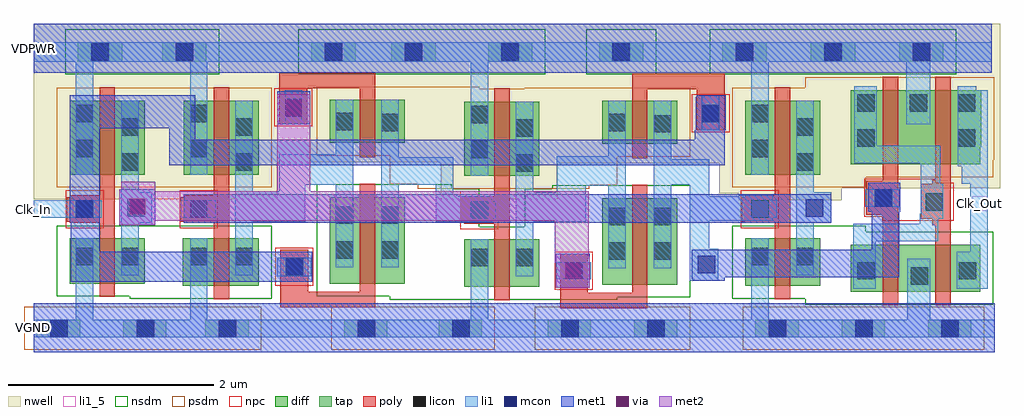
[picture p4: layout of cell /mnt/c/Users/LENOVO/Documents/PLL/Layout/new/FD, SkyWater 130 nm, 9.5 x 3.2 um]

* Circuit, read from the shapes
.subckt /mnt/c/Users/LENOVO/Documents/PLL/Layout/new/FD Clk_In Clk_Out VDPWR VGND
XM1 n1 Clk_In VGND VGND sky130_fd_pr__nfet_01v8 w=0.44 l=0.15
XM2 n2 n3 VGND VGND sky130_fd_pr__nfet_01v8 w=0.46 l=0.15
XM3 n4 Clk_In n2 VGND sky130_fd_pr__nfet_01v8 w=0.84 l=0.15
XM4 n5 n4 VGND VGND sky130_fd_pr__nfet_01v8 w=0.46 l=0.15
XM5 n6 n1 n5 VGND sky130_fd_pr__nfet_01v8 w=0.84 l=0.15
XM6 n3 n6 VGND VGND sky130_fd_pr__nfet_01v8 w=0.46 l=0.15
XM7 VGND n6 n7 VGND sky130_fd_pr__nfet_01v8 w=0.46 l=0.15
XM8 Clk_Out n7 VGND VGND sky130_fd_pr__nfet_01v8 w=0.46 l=0.15
XM9 n1 Clk_In VDPWR VDPWR sky130_fd_pr__pfet_01v8 w=0.72 l=0.15
XM10 n2 n3 VDPWR VDPWR sky130_fd_pr__pfet_01v8 w=0.72 l=0.15
XM11 n4 n1 n2 VDPWR sky130_fd_pr__pfet_01v8 w=0.42 l=0.15
XM12 n5 n4 VDPWR VDPWR sky130_fd_pr__pfet_01v8 w=0.72 l=0.15
XM13 n6 Clk_In n5 VDPWR sky130_fd_pr__pfet_01v8 w=0.42 l=0.15
XM14 n3 n6 VDPWR VDPWR sky130_fd_pr__pfet_01v8 w=0.72 l=0.15
XM15 VDPWR n6 n7 VDPWR sky130_fd_pr__pfet_01v8 w=0.72 l=0.15
XM16 Clk_Out n7 VDPWR VDPWR sky130_fd_pr__pfet_01v8 w=0.72 l=0.15
.ends

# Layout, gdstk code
import gdstk
lib = gdstk.Library(unit=1e-6, precision=1e-09)
def R(c, l, rs):  # rectangles x0, y0, x1, y1
    for r in rs: c.add(gdstk.rectangle(r[:2], r[2:], *l))
def A(c, l, x, y, w, h, nx, ny, dx, dy):  # array of equal rectangles
    R(c, l, [(x+i*dx, y+j*dy, x+i*dx+w, y+j*dy+h) for i in range(nx) for j in range(ny)])
nwell = (64, 20)
diff = (65, 20)
tap = (65, 44)
poly = (66, 20)
licon = (66, 44)
li1_5 = (67, 5)
li1 = (67, 20)
mcon = (67, 44)
met1 = (68, 20)
via = (68, 44)
met2 = (69, 20)
nsdm = (93, 44)
psdm = (94, 20)
npc = (95, 20)

c__mnt_c_users_lenovo_docu = lib.new_cell('/mnt/c/Users/LENOVO/Documents/PLL/Layout/new/FD')
R(c__mnt_c_users_lenovo_docu, nwell, [(6.86,1.48,7.86,1.55), (0,1.49,2.37,1.85), (3.96,1.49,5.1,1.84), (6.67,1.55,7.86,1.6), (6.67,1.6,9.4,1.84), (3.96,1.84,9.4,1.85), (0,1.85,9.4,3.2)])
R(c__mnt_c_users_lenovo_docu, diff, [(7.95,0.59,9.21,1.05), (4.19,0.64,4.92,1.1), (1.45,0.65,2.19,1.11), (6.92,0.65,7.65,1.11), (5.53,0.66,6.26,1.5), (0.35,0.67,1.08,1.11), (2.88,0.67,3.61,1.51), (4.19,1.72,4.92,2.44), (0.35,1.73,1.08,2.45), (1.46,1.73,2.19,2.45), (6.92,1.73,7.65,2.45), (7.95,1.83,9.21,2), (7.95,2,9.22,2.55), (5.53,2.03,6.26,2.45), (2.88,2.04,3.61,2.46)])
A(c__mnt_c_users_lenovo_docu, tap, 7.02, 0.15, 0.42, 0.17, 3, 1, 0.84, 0)
A(c__mnt_c_users_lenovo_docu, tap, 6.7, 2.83, 0.43, 0.19, 3, 1, 0.86, 0)
R(c__mnt_c_users_lenovo_docu, tap, [(0.03,0.15,0.45,0.32), (0.87,0.15,1.29,0.32), (1.67,0.15,2.09,0.32), (3.02,0.15,3.44,0.32), (3.94,0.15,4.36,0.32), (5,0.15,5.42,0.32), (5.84,0.15,6.26,0.32), (0.43,2.83,0.86,3.02), (1.25,2.83,1.68,3.02), (2.7,2.83,3.13,3.02), (3.48,2.83,3.91,3.02), (4.42,2.83,4.85,3.02), (5.5,2.83,5.93,3.02)])
R(c__mnt_c_users_lenovo_docu, poly, [(5.12,0.43,5.97,0.58), (2.4,0.44,3.32,0.59), (8.26,0.46,8.41,1.34), (8.77,0.46,8.92,1.24), (4.48,0.51,4.63,1.25), (1.75,0.52,1.9,1.26), (7.21,0.52,7.36,1.26), (0.64,0.54,0.79,1.26), (5.12,0.58,5.39,0.96), (5.82,0.58,5.97,1.63), (2.4,0.59,2.67,1), (3.17,0.59,3.32,1.64), (8.74,1.24,8.92,1.3), (4.19,1.25,4.63,1.26), (0.35,1.26,0.79,1.27), (1.46,1.26,1.9,1.27), (4.16,1.26,4.63,1.5), (6.92,1.26,7.36,1.27), (0.32,1.27,0.79,1.51), (1.43,1.27,1.9,1.51), (6.89,1.27,7.36,1.51), (8.63,1.3,8.92,1.64), (8.1,1.34,8.41,1.42), (8.1,1.42,8.42,1.59), (4.19,1.5,4.63,1.52), (0.35,1.51,0.79,1.53), (1.46,1.51,1.9,1.53), (6.92,1.51,7.36,1.53), (4.48,1.52,4.63,2.57), (0.64,1.53,0.79,2.58), (1.75,1.53,1.9,2.58), (7.21,1.53,7.36,2.58), (8.1,1.59,8.41,1.67), (8.74,1.64,8.92,1.68), (8.26,1.67,8.41,2.68), (8.77,1.68,8.92,2.68), (5.82,1.89,5.97,2.56), (3.17,1.9,3.32,2.57), (6.45,2.16,6.72,2.56), (2.39,2.22,2.66,2.57), (5.82,2.56,6.72,2.71), (2.39,2.57,3.32,2.72)])
A(c__mnt_c_users_lenovo_docu, licon, 7.15, 0.15, 0.17, 0.17, 3, 1, 0.84, 0)
A(c__mnt_c_users_lenovo_docu, licon, 6.83, 2.84, 0.17, 0.17, 3, 1, 0.86, 0)
R(c__mnt_c_users_lenovo_docu, licon, [(0.16,0.15,0.33,0.32), (1,0.15,1.17,0.32), (1.8,0.15,1.97,0.32), (3.15,0.15,3.32,0.32), (4.07,0.15,4.24,0.32), (5.13,0.15,5.3,0.32), (5.97,0.15,6.14,0.32), (8.53,0.66,8.7,0.83), (5.17,0.71,5.34,0.88), (8.01,0.71,8.18,0.88), (9,0.71,9.17,0.88), (2.45,0.75,2.62,0.92), (4.25,0.84,4.42,1.01), (4.69,0.84,4.86,1.01), (0.41,0.85,0.58,1.02), (0.85,0.85,1.02,1.02), (1.52,0.85,1.69,1.02), (1.96,0.85,2.13,1.02), (6.98,0.85,7.15,1.02), (7.42,0.85,7.59,1.02), (5.59,0.9,5.76,1.07), (6.03,0.9,6.2,1.07), (2.94,0.91,3.11,1.08), (3.38,0.91,3.55,1.08), (5.59,1.24,5.76,1.41), (6.03,1.24,6.2,1.41), (2.94,1.25,3.11,1.42), (3.38,1.25,3.55,1.42), (4.25,1.3,4.42,1.47), (0.41,1.31,0.58,1.48), (1.52,1.31,1.69,1.48), (6.98,1.31,7.15,1.48), (8.68,1.38,8.85,1.55), (8.18,1.42,8.35,1.59), (4.69,1.76,4.86,1.93), (0.85,1.77,1.02,1.94), (1.96,1.77,2.13,1.94), (7.42,1.77,7.59,1.94), (4.25,1.89,4.42,2.06), (0.41,1.9,0.58,2.07), (1.52,1.9,1.69,2.07), (6.98,1.9,7.15,2.07), (8.01,2,8.18,2.17), (8.99,2,9.16,2.17), (4.69,2.1,4.86,2.27), (0.85,2.11,1.02,2.28), (1.96,2.11,2.13,2.28), (7.42,2.11,7.59,2.28), (6.03,2.14,6.2,2.31), (3.38,2.15,3.55,2.32), (5.59,2.15,5.76,2.32), (2.94,2.16,3.11,2.33), (4.25,2.23,4.42,2.4), (0.41,2.24,0.58,2.41), (1.52,2.24,1.69,2.41), (6.5,2.24,6.67,2.41), (6.98,2.24,7.15,2.41), (2.44,2.3,2.61,2.47), (8.01,2.34,8.18,2.51), (8.52,2.34,8.69,2.51), (8.99,2.34,9.16,2.51), (0.56,2.84,0.73,3.01), (1.38,2.84,1.55,3.01), (2.83,2.84,3,3.01), (3.61,2.84,3.78,3.01), (4.55,2.84,4.72,3.01), (5.63,2.84,5.8,3.01)])
R(c__mnt_c_users_lenovo_docu, li1_5, [(9.13,1.38,9.27,1.52)])
R(c__mnt_c_users_lenovo_docu, li1, [(0,0.15,9.35,0.32), (0.41,0.32,0.58,1.11), (1.52,0.32,1.69,1.11), (4.25,0.32,4.42,1.1), (6.98,0.32,7.15,1.11), (8.5,0.32,8.72,0.91), (7.97,0.62,8.19,1.08), (8.98,0.62,9.28,0.98), (6.38,0.7,6.66,1.01), (5.09,0.71,5.42,0.88), (2.37,0.74,2.7,0.92), (4.69,0.74,4.86,1.27), (0.85,0.75,1.02,1.26), (1.96,0.75,2.13,1.27), (7.42,0.75,7.59,1.26), (5.59,0.82,5.76,1.62), (6.03,0.82,6.2,1.63), (2.94,0.83,3.11,1.63), (3.38,0.83,3.55,1.63), (9.11,0.98,9.28,1.64), (6.38,1.01,6.57,1.28), (7.97,1.08,8.8,1.25), (8.62,1.25,8.8,1.3), (0.85,1.26,1.15,1.56), (7.42,1.26,7.76,1.56), (1.96,1.27,2.64,1.57), (3.91,1.27,4.46,1.3), (4.69,1.27,5.37,1.56), (6.38,1.28,7.19,1.31), (3.91,1.3,4.5,1.47), (8.62,1.3,8.85,1.35), (0,1.31,0.66,1.48), (1.43,1.31,1.77,1.48), (6.38,1.31,7.23,1.48), (8.63,1.35,8.85,1.64), (8.09,1.42,8.43,1.59), (3.91,1.47,4.46,1.52), (6.38,1.48,7.19,1.52), (3.91,1.52,4.12,1.54), (6.38,1.52,6.57,1.63), (6.86,1.52,7.19,1.53), (3.91,1.54,4.08,1.63), (0.85,1.56,1.02,2.45), (4.69,1.56,4.86,2.44), (5.09,1.56,5.37,1.62), (7.42,1.56,7.59,2.45), (1.96,1.57,2.13,2.45), (2.39,1.57,2.64,1.63), (5.09,1.62,5.76,1.91), (2.39,1.63,3.11,1.93), (3.38,1.63,4.08,1.9), (6.03,1.63,6.57,1.88), (8.63,1.64,8.82,1.84), (9.03,1.64,9.28,1.81), (4.25,1.72,4.42,2.83), (0.41,1.73,0.58,2.83), (1.52,1.73,1.69,2.83), (6.98,1.73,7.15,2.83), (8.99,1.81,9.28,2.55), (7.98,1.84,8.82,2.01), (6.03,1.88,6.2,2.45), (3.38,1.9,3.55,2.46), (5.59,1.91,5.76,2.45), (2.94,1.93,3.11,2.46), (7.98,2.01,8.2,2.59), (6.5,2.16,6.67,2.5), (2.44,2.22,2.61,2.55), (8.49,2.22,8.72,2.83), (8.99,2.55,9.17,2.59), (0,2.83,9.32,3.02)])
A(c__mnt_c_users_lenovo_docu, mcon, 7.15, 0.15, 0.17, 0.17, 3, 1, 0.84, 0)
A(c__mnt_c_users_lenovo_docu, mcon, 6.83, 2.84, 0.17, 0.17, 3, 1, 0.86, 0)
R(c__mnt_c_users_lenovo_docu, mcon, [(0.16,0.15,0.33,0.32), (1,0.15,1.17,0.32), (1.8,0.15,1.97,0.32), (3.15,0.15,3.32,0.32), (4.07,0.15,4.24,0.32), (5.13,0.15,5.3,0.32), (5.97,0.15,6.14,0.32), (5.17,0.71,5.34,0.88), (2.45,0.75,2.62,0.92), (6.46,0.77,6.63,0.94), (0.41,1.31,0.58,1.48), (1.52,1.31,1.69,1.48), (0.91,1.32,1.08,1.49), (7.51,1.32,7.68,1.49), (8.18,1.42,8.35,1.59), (6.5,2.24,6.67,2.41), (2.44,2.295,2.61,2.465), (0.56,2.84,0.73,3.01), (1.38,2.84,1.55,3.01), (2.83,2.84,3,3.01), (3.61,2.84,3.78,3.01), (4.55,2.84,4.72,3.01), (5.63,2.84,5.8,3.01)])
R(c__mnt_c_users_lenovo_docu, met1, [(0,0,9.35,0.48), (5.08,0.63,5.41,0.96), (0.36,0.69,2.71,0.98), (6.41,0.7,6.72,0.71), (6.4,0.71,6.72,0.73), (6.4,0.73,8.42,1), (0.36,0.98,0.64,1.27), (8.15,1,8.42,1.37), (0.83,1.24,1.18,1.59), (1.46,1.26,7.76,1.54), (0.35,1.27,0.64,2.18), (8.12,1.37,8.43,1.65), (1.32,1.82,6.72,2.07), (1.32,2.07,1.57,2.18), (6.43,2.07,6.72,2.16), (6.44,2.16,6.73,2.49), (0.35,2.18,1.57,2.5), (2.37,2.22,2.69,2.54), (6.45,2.49,6.73,2.5), (0,2.72,9.32,3.2)])
R(c__mnt_c_users_lenovo_docu, via, [(5.17,0.72,5.32,0.87), (0.935,1.345,1.085,1.495), (2.455,2.305,2.605,2.455)])
R(c__mnt_c_users_lenovo_docu, met2, [(5.08,0.63,5.41,0.87), (5.07,0.87,5.41,0.93), (5.07,0.93,5.4,1.28), (0.83,1.24,1.18,1.28), (0.83,1.28,5.4,1.57), (0.83,1.57,1.18,1.59), (2.37,1.57,2.69,2.51), (0.85,1.59,1.18,1.66)])
R(c__mnt_c_users_lenovo_docu, nsdm, [(7.505,0.465,9.335,0.525), (3.465,0.515,5.675,0.535), (0.935,0.525,2.315,0.545), (6.795,0.525,9.335,1.175), (3.465,0.535,6.385,0.545), (0.225,0.545,2.315,1.235), (2.755,0.545,6.385,1.225), (6.795,1.175,8.095,1.235), (2.755,1.225,4.335,1.595), (4.775,1.225,6.385,1.595), (2.755,1.595,4.065,1.635), (5.045,1.595,6.385,1.625), (0.305,2.705,1.805,3.145), (2.575,2.705,4.975,3.145), (5.375,2.705,6.055,3.145), (6.575,2.705,8.975,3.145)])
R(c__mnt_c_users_lenovo_docu, psdm, [(-0.095,0.025,2.215,0.445), (2.895,0.025,4.485,0.445), (4.875,0.025,6.385,0.445), (6.895,0.025,9.245,0.445), (3.735,1.595,5.405,1.625), (0.225,1.605,2.315,2.575), (6.795,1.605,8.095,1.705), (3.735,1.625,5.675,1.635), (3.465,1.635,5.675,1.905), (6.795,1.705,9.335,1.875), (6.795,1.875,9.345,2.575), (3.465,1.905,6.385,1.915), (2.755,1.915,6.385,2.565), (2.755,2.565,4.335,2.585), (4.775,2.565,6.385,2.575), (7.505,2.575,9.345,2.675)])
R(c__mnt_c_users_lenovo_docu, npc, [(5.07,0.61,5.44,0.98), (2.35,0.65,2.72,1.02), (4.15,1.2,4.52,1.57), (0.31,1.21,0.68,1.58), (1.42,1.21,1.79,1.58), (6.88,1.21,7.25,1.58), (8.255,1.28,8.95,1.32), (8.08,1.32,8.95,1.65), (8.08,1.65,8.775,1.69), (6.4,2.14,6.77,2.51), (2.34,2.2,2.71,2.57)])
c__mnt_c_users_lenovo_docu.add(gdstk.Label('Clk_Out', (9.2,1.45), layer=67, texttype=5))
c__mnt_c_users_lenovo_docu.add(gdstk.Label('Clk_In', (0,1.39), layer=67, texttype=5))
c__mnt_c_users_lenovo_docu.add(gdstk.Label('VGND', (0,0.24), layer=68, texttype=5))
c__mnt_c_users_lenovo_docu.add(gdstk.Label('VDPWR', (0,2.96), layer=68, texttype=5))

lib.write_gds('_mnt_c_Users_LENOVO_Documents_PLL_Layout_new_FD.gds')
